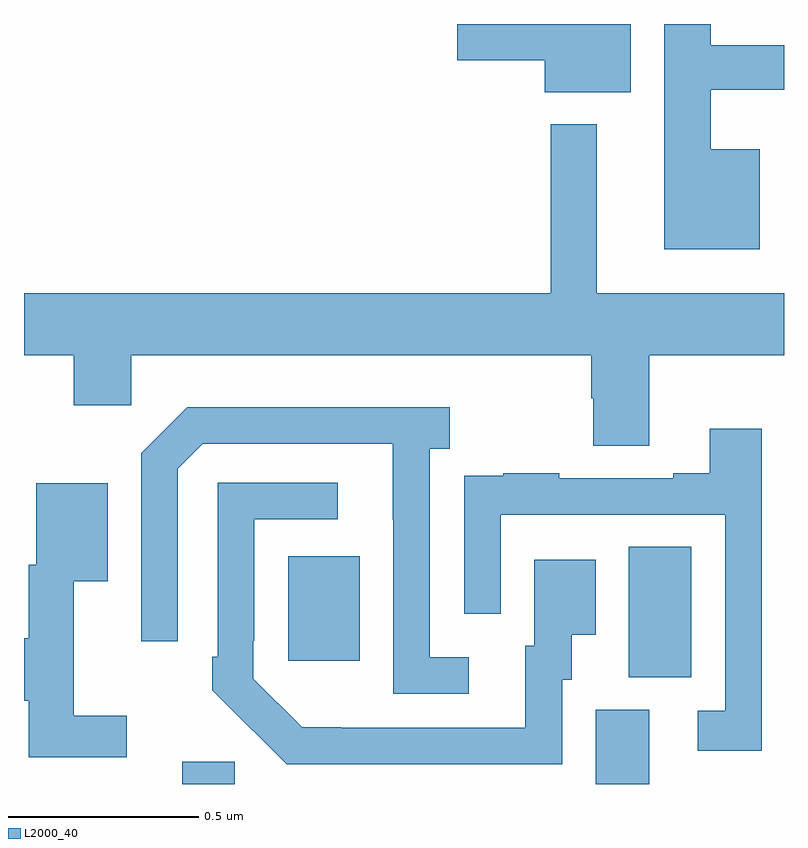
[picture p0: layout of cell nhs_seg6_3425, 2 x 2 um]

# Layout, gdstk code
import gdstk
lib = gdstk.Library(unit=1e-6, precision=1e-09)
def R(c, l, rs):  # rectangles x0, y0, x1, y1
    for r in rs: c.add(gdstk.rectangle(r[:2], r[2:], *l))
def P(c, l, *ps):  # polygons
    for p in ps: c.add(gdstk.Polygon(p, *l))
L2000_40 = (2000, 40)

nhs_seg6_3425 = lib.new_cell('nhs_seg6_3425')
R(nhs_seg6_3425, L2000_40, [(156.416,987.5,156.555,987.558), (157.505,987.5,157.645,987.696), (157.592,987.781,157.756,988.124), (156.695,987.825,156.883,988.099)])
P(nhs_seg6_3425, L2000_40, [(157.936,989.17),(157.807,989.17),(157.807,989.327),(158,989.327),(158,989.444),(157.807,989.444),(157.807,989.5),(157.685,989.5),(157.685,988.907),(157.936,988.907)],
  [(157.597,989.5),(157.14,989.5),(157.14,989.405),(157.37,989.405),(157.37,989.321),(157.597,989.321)],
  [(157.645,988.628),(158,988.628),(158,988.792),(157.507,988.792),(157.507,989.236),(157.386,989.236),(157.386,988.792),(156,988.792),(156,988.628),(156.131,988.628),(156.131,988.497),(156.282,988.497),(156.282,988.628),(157.493,988.628),(157.493,988.515),(157.498,988.515),(157.498,988.39),(157.645,988.39)],
  [(157.171,987.834),(157.068,987.834),(157.068,988.382),(157.12,988.382),(157.12,988.492),(156.43,988.492),(156.309,988.371),(156.309,987.876),(156.405,987.876),(156.405,988.329),(156.471,988.395),(156.971,988.395),(156.971,988.195),(156.972,988.195),(156.972,987.738),(157.171,987.738)],
  [(157.941,988.435),(157.805,988.435),(157.805,988.318),(157.709,988.318),(157.709,988.305),(157.409,988.305),(157.409,988.318),(157.261,988.318),(157.261,988.311),(157.159,988.311),(157.159,988.202),(157.158,988.202),(157.158,987.948),(157.254,987.948),(157.254,988.209),(157.845,988.209),(157.845,987.693),(157.773,987.693),(157.773,987.588),(157.941,987.588)],
  [(157.416,987.774),(157.441,987.774),(157.441,987.893),(157.504,987.893),(157.504,988.09),(157.343,988.09),(157.343,987.864),(157.319,987.864),(157.319,987.648),(156.835,987.648),(156.835,987.649),(156.732,987.649),(156.603,987.777),(156.603,987.877),(156.606,987.877),(156.606,988.197),(156.826,988.197),(156.826,988.293),(156.51,988.293),(156.51,987.835),(156.495,987.835),(156.495,987.747),(156.6,987.642),(156.601,987.643),(156.692,987.552),(157.416,987.552)],
  [(156.271,987.679),(156.131,987.679),(156.131,988.034),(156.22,988.034),(156.22,988.291),(156.032,988.291),(156.032,988.077),(156.013,988.077),(156.013,987.884),(156,987.884),(156,987.719),(156.013,987.719),(156.013,987.57),(156.271,987.57)])

lib.write_gds('nhs_seg6_3425.gds')
